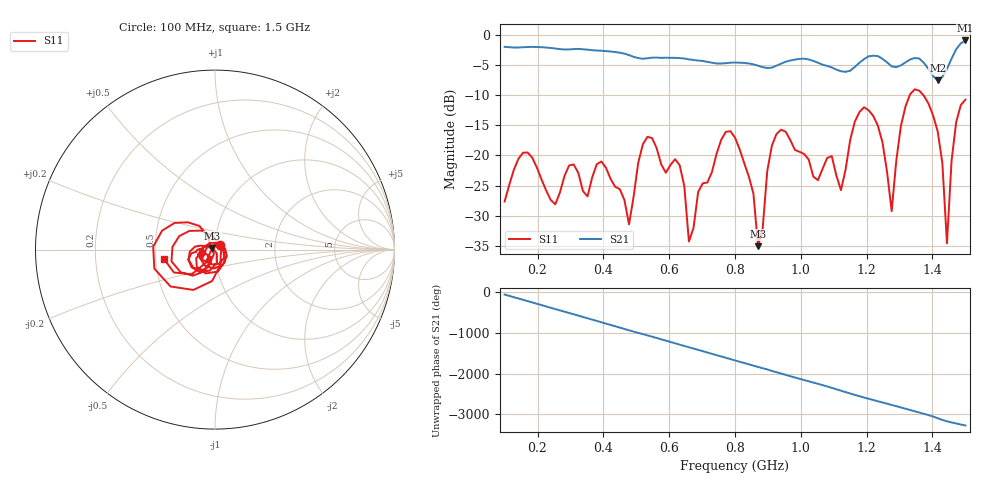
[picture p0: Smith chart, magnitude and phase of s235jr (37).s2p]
! NanoVNA-App
! Date: 2025-09-26 09:45:04
! Start: 100MHz Stop: 1,5GHz Points: 101
! S-Parameter data: F S11 S21 S12 S22
# Hz S RI R 50
!  Frequency  S11_Real  S11_Imag  S21_Real  S21_Imag  S12_Real  S12_Imag  S22_Real  S22_Imag
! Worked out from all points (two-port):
!   101 points, 100 MHz to 1.5 GHz, reference 50 ohm
!   highest |S21| = -0.90 dB at 1.5 GHz (marker M1); lowest = -7.5 dB at 1.416 GHz (marker M2)
!   |S21| within 3 dB of the highest: start of sweep to 514.9 MHz; 526.6 MHz to 646.1 MHz (119.5 MHz wide, 20.4 % of centre)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
!   lowest |S11| = -35.1 dB at 870 MHz (marker M3), VSWR 1.04, Z = 48.5 + j0.922 ohm
!   |S11| at or under -10 dB: start of sweep to 1.331 GHz; 1.373 GHz to end of sweep
!   S12 and S22 are empty: the file has one direction only
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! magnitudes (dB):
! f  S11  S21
! 100 MHz  -27.7  -2.0
! 156 MHz  -19.5  -2.0
! 338 MHz  -25.9  -2.4
! 394 MHz  -21.0  -2.6
! 478 MHz  -31.4  -3.3
! 520 MHz  -18.2  -3.9
! 576 MHz  -21.5  -3.8
! 632 MHz  -21.6  -3.8
! 660 MHz  -34.3  -4.0
! 800 MHz  -17.0  -4.6
! 870 MHz  -35.1  -5.1
! 926 MHz  -16.4  -5.1
! 1.038 GHz  -23.5  -4.3
! 1.122 GHz  -25.8  -6.0
! 1.192 GHz  -12.0  -4.0
! 1.248 GHz  -17.8  -4.0
! 1.276 GHz  -29.3  -5.2
! 1.332 GHz  -9.8  -4.1
! 1.416 GHz  -16.0  -7.5
! 1.444 GHz  -34.6  -5.6
! 1.472 GHz  -14.5  -2.4
! 1.5 GHz  -10.7  -0.9
